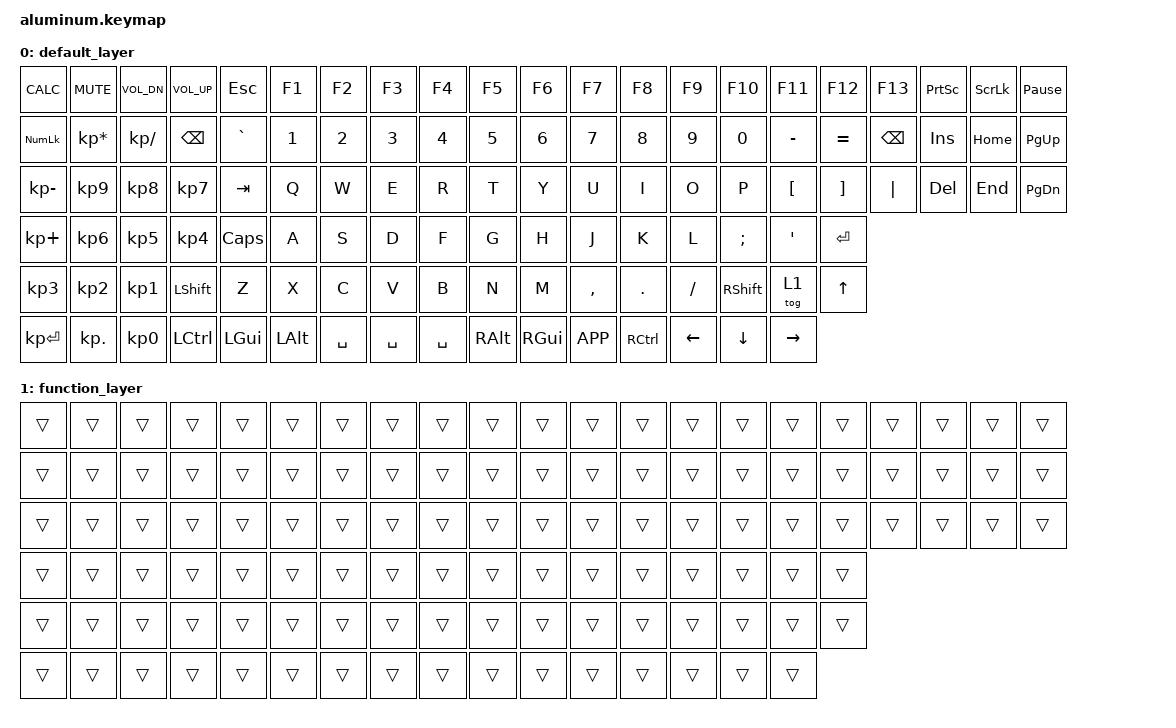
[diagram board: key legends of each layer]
/*
 * Custom Split Keyboard Keymap
 * Full-size split layout with numpad
 */

#include <behaviors.dtsi>
#include <dt-bindings/zmk/keys.h>
#include <dt-bindings/zmk/bt.h>

/ {
    keymap {
        compatible = "zmk,keymap";

        default_layer {
            bindings = <
    // Row 0
                   &kp CALC       &kp C_MUTE    &kp C_VOL_DN  &kp C_VOL_UP   &kp ESC              &kp F1    &kp F2    &kp F3    &kp F4        &kp F5    &kp F6    &kp F7    &kp F8    &kp F9    &kp F10   &kp F11   &kp F12   &kp F13            &kp PSCRN      &kp SLCK  &kp PAUSE_BREAK
    // Row 1
                   &kp KP_NLCK   &kp KP_MULTIPLY  &kp KP_DIVIDE  &kp BSPC    &kp GRAVE  &kp N1    &kp N2    &kp N3    &kp N4    &kp N5        &kp N6    &kp N7    &kp N8    &kp N9    &kp N0    &kp MINUS &kp EQUAL   &kp BSPC                       &kp INS   &kp HOME  &kp PG_UP
    // Row 2
                   &kp KP_MINUS  &kp KP_N9     &kp KP_N8     &kp KP_N7       &kp TAB       &kp Q     &kp W     &kp E     &kp R     &kp T         &kp Y     &kp U     &kp I     &kp O     &kp P     &kp LBKT  &kp RBKT   &kp PIPE                       &kp DEL   &kp END   &kp PG_DN
    // Row 3
                   &kp KP_PLUS   &kp KP_N6     &kp KP_N5     &kp KP_N4       &kp CAPS       &kp A     &kp S     &kp D     &kp F     &kp G         &kp H     &kp J     &kp K     &kp L     &kp SEMI  &kp SQT       &kp RET
    // Row 4
                                 &kp KP_N3     &kp KP_N2     &kp KP_N1       &kp LSHFT      &kp Z     &kp X     &kp C     &kp V     &kp B         &kp N     &kp M     &kp COMMA &kp DOT   &kp FSLH  &kp RSHFT   &tog 1                                             &kp UP
    // Row 5
                   &kp KP_ENTER  &kp KP_DOT &kp KP_N0                       &kp LCTRL &kp LGUI &kp LALT &kp SPACE         &kp SPACE     &kp SPACE   &kp RALT    &kp RGUI  &kp K_APP &kp RCTRL                                                   &kp LEFT       &kp DOWN  &kp RIGHT
            >;
        };

        function_layer {
            bindings = <
    // Row 0
    &trans  &trans  &trans  &trans  &trans  &trans  &trans  &trans  &trans  &trans  &trans  &trans  &trans  &trans  &trans  &trans  &trans  &trans  &trans  &trans  &trans
    // Row 1
    &trans  &trans  &trans  &trans  &trans  &trans  &trans  &trans  &trans  &trans  &trans  &trans  &trans  &trans  &trans  &trans  &trans  &trans  &trans  &trans  &trans
    // Row 2
    &trans  &trans  &trans  &trans  &trans  &trans  &trans  &trans  &trans  &trans  &trans  &trans  &trans  &trans  &trans  &trans  &trans  &trans  &trans  &trans  &trans
    // Row 3
    &trans  &trans  &trans  &trans  &trans  &trans  &trans  &trans  &trans  &trans  &trans  &trans  &trans  &trans  &trans  &trans  &trans
    // Row 4
    &trans  &trans  &trans  &trans  &trans  &trans  &trans  &trans  &trans  &trans  &trans  &trans  &trans  &trans  &trans  &trans  &trans
    // Row 5
    &trans  &trans  &trans  &trans  &trans  &trans  &trans  &trans  &trans  &trans  &trans  &trans  &trans  &trans  &trans  &trans
            >;
        };
    };
};
